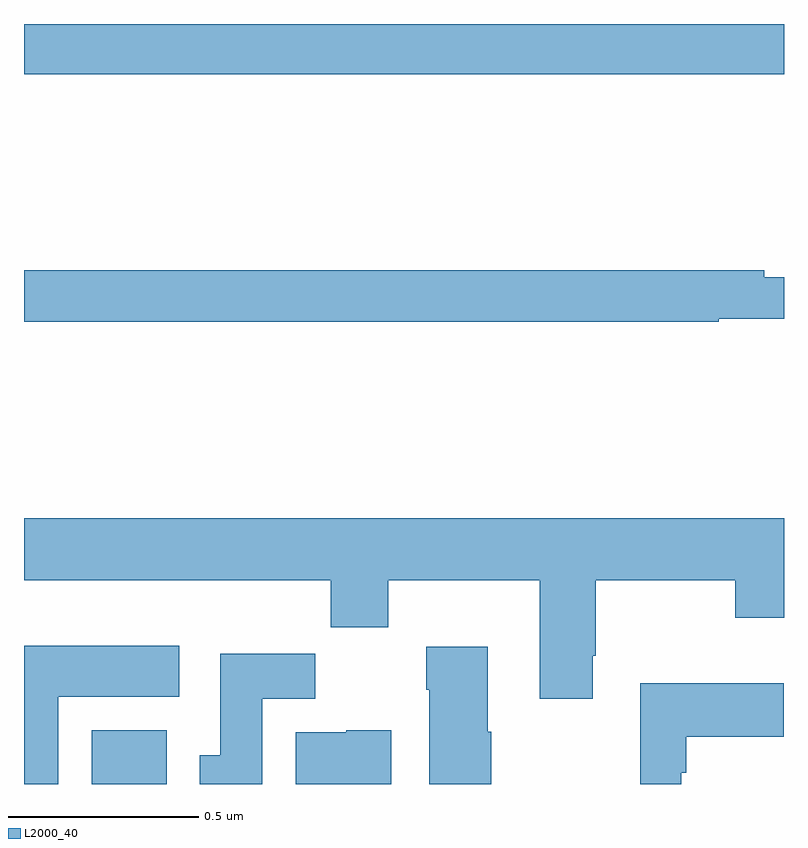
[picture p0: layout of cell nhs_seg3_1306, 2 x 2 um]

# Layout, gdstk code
import gdstk
lib = gdstk.Library(unit=1e-6, precision=1e-09)
def R(c, l, rs):  # rectangles x0, y0, x1, y1
    for r in rs: c.add(gdstk.rectangle(r[:2], r[2:], *l))
def P(c, l, *ps):  # polygons
    for p in ps: c.add(gdstk.Polygon(p, *l))
L2000_40 = (2000, 40)

nhs_seg3_1306 = lib.new_cell('nhs_seg3_1306')
R(nhs_seg3_1306, L2000_40, [(127.178,680.4,127.375,680.542), (127,682.268,129,682.4)])
P(nhs_seg3_1306, L2000_40, [(128.828,681.624),(129,681.624),(129,681.733),(128.948,681.733),(128.948,681.752),(127,681.752),(127,681.616),(128.828,681.616)],
  [(128.497,680.737),(128.505,680.737),(128.505,680.936),(128.872,680.936),(128.872,680.837),(129,680.837),(129,681.1),(127,681.1),(127,680.936),(127.807,680.936),(127.807,680.812),(127.959,680.812),(127.959,680.936),(128.357,680.936),(128.357,680.625),(128.497,680.625)],
  [(127.09,680.63),(127.408,680.63),(127.408,680.764),(127,680.764),(127,680.4),(127.09,680.4)],
  [(128.229,680.537),(128.221,680.537),(128.221,680.761),(128.059,680.761),(128.059,680.648),(128.066,680.648),(128.066,680.4),(128.229,680.4)],
  [(127.627,680.624),(127.766,680.624),(127.766,680.743),(127.517,680.743),(127.517,680.476),(127.463,680.476),(127.463,680.4),(127.627,680.4)],
  [(128.73,680.429),(128.743,680.429),(128.743,680.525),(128.999,680.525),(128.999,680.665),(128.622,680.665),(128.622,680.4),(128.73,680.4)],
  [(127.966,680.542),(127.848,680.542),(127.848,680.536),(127.715,680.536),(127.715,680.4),(127.966,680.4)])

lib.write_gds('nhs_seg3_1306.gds')
